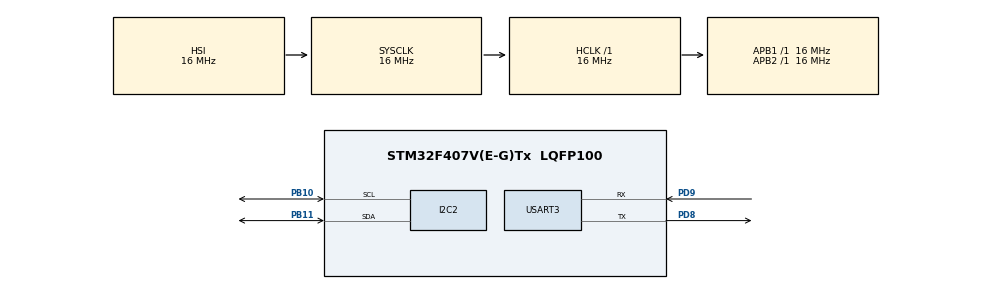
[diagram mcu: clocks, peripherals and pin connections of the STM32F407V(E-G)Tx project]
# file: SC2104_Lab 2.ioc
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Mcu.Family=STM32F4
Mcu.Name=STM32F407V(E-G)Tx
Mcu.Package=LQFP100
NVIC.PriorityGroup=NVIC_PRIORITYGROUP_4
PA13.Signal=SYS_JTMS-SWDIO
PA14.Signal=SYS_JTCK-SWCLK
PB10.Mode=I2C
PB10.Signal=I2C2_SCL
PB11.Mode=I2C
PB11.Signal=I2C2_SDA
PD8.Mode=Asynchronous
PD8.Signal=USART3_TX
PD9.Mode=Asynchronous
PD9.Signal=USART3_RX
ProjectManager.HeapSize=0x200
ProjectManager.StackSize=0x400
ProjectManager.TargetToolchain=STM32CubeIDE
RCC.AHBFreq_Value=16000000
RCC.APB1Freq_Value=16000000
RCC.APB2Freq_Value=16000000
RCC.CortexFreq_Value=16000000
RCC.HSE_VALUE=25000000
RCC.HSI_VALUE=16000000
RCC.LSE_VALUE=32768
RCC.SYSCLKFreq_VALUE=16000000
RCC.VCOOutputFreq_Value=192000000
USART3.VirtualMode=VM_ASYNC
board=custom

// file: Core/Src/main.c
/* USER CODE BEGIN Header */
/**
  ******************************************************************************
  * @file           : main.c
  * @brief          : Main program body
  ******************************************************************************
  * @attention
  *
  * Copyright (c) 2024 STMicroelectronics.
  * All rights reserved.
  *
  * This software is licensed under terms that can be found in the LICENSE file
  * in the root directory of this software component.
  * If no LICENSE file comes with this software, it is provided AS-IS.
  *
  ******************************************************************************
  */
/* USER CODE END Header */
#include "main.h"

/* USER CODE BEGIN Includes */
#include "MPU6050.h"
#include "math.h"
#include "stdio.h"
/* USER CODE END Includes */

 I2C_HandleTypeDef hi2c2;

UART_HandleTypeDef huart3;

void SystemClock_Config(void);
static void MX_GPIO_Init(void);
static void MX_I2C2_Init(void);
static void MX_USART3_UART_Init(void);

/* USER CODE BEGIN 0 */

uint8_t IMU_ADDR = 0x68<<1;
IMU_Data imu;
float pitch, roll, yaw;
char sbuf [16][15];
uint32_t millisOld, millisNow;
float dt; //Time elapsed

/* USER CODE END 0 */

int main(void)
{

  /* MCU Configuration--------------------------------------------------------*/

  /* Reset of all peripherals, Initializes the Flash interface and the Systick. */
  HAL_Init();

  /* Configure the system clock */
  SystemClock_Config();

  /* Initialize all configured peripherals */
  MX_GPIO_Init();
  MX_I2C2_Init();
  MX_USART3_UART_Init();
  /* USER CODE BEGIN 2 */
  uint8_t status = IMU_Initialise(&imu, &hi2c2, &huart3);

  // Check if IMU initialization is successful
    if (status != 0) {
        HAL_UART_Transmit(&huart3, (uint8_t *)"IMU Init Failed\r\n", 17, HAL_MAX_DELAY);
        while (1);  // Stop execution if IMU initialization fails
    }

  millisOld = HAL_GetTick(); //Initialize Time

  /* USER CODE END 2 */

  /* Infinite loop */
  /* USER CODE BEGIN WHILE */
  while (1)
  {
	  // Get current time
	  millisNow = HAL_GetTick();
	  dt = (millisNow - millisOld) * 0.001; // time elapsed in seconds
	  millisOld = millisNow;

	  // Read Accelerometer and Gyroscope
	  IMU_AccelRead(&imu);  // Accelerometer read
	  IMU_GyroRead(&imu);   // Gyroscope read

	  // Calculate pitch and roll using accelerometer data
	  pitch = atan2(imu.acc[0], sqrt(imu.acc[1] * imu.acc[1] + imu.acc[2] * imu.acc[2])) * 180 / 3.14159;
	  roll = atan2(imu.acc[1], sqrt(imu.acc[0] * imu.acc[0] + imu.acc[2] * imu.acc[2])) * 180 / 3.14159;

	  // Calculate yaw using gyroscope (integrating angular velocity)
	  yaw -= imu.gyro[2] * dt; // Gyro z-axis gives yaw

	   // Store pitch, roll, and yaw values into the buffer
	   sprintf(sbuf[0], "%5.2f,", pitch); // Pitch
	   sprintf(sbuf[1], "%5.2f,", roll);  // Roll
	   sprintf(sbuf[2], "%5.2f,", yaw);   // Yaw

	   // Send pitch, roll, and yaw through UART using a for loop
	       for (int i = 0; i < 3; i++)
	       {
	         HAL_UART_Transmit(&huart3, (uint8_t *)sbuf[i], 6, HAL_MAX_DELAY); // Cast to uint8_t * and transmit
	       }

	       // Send newline after sending the values
	       HAL_UART_Transmit(&huart3, (uint8_t *)"\r\n", 2, HAL_MAX_DELAY); // Newline after each set of values
    /* USER CODE END WHILE */

  }
}

void SystemClock_Config(void)
{
  RCC_OscInitTypeDef RCC_OscInitStruct = {0};
  RCC_ClkInitTypeDef RCC_ClkInitStruct = {0};

  /** Configure the main internal regulator output voltage
  */
  __HAL_RCC_PWR_CLK_ENABLE();
  __HAL_PWR_VOLTAGESCALING_CONFIG(PWR_REGULATOR_VOLTAGE_SCALE1);

  /** Initializes the RCC Oscillators according to the specified parameters
  * in the RCC_OscInitTypeDef structure.
  */
  RCC_OscInitStruct.OscillatorType = RCC_OSCILLATORTYPE_HSI;
  RCC_OscInitStruct.HSIState = RCC_HSI_ON;
  RCC_OscInitStruct.HSICalibrationValue = RCC_HSICALIBRATION_DEFAULT;
  RCC_OscInitStruct.PLL.PLLState = RCC_PLL_NONE;
  if (HAL_RCC_OscConfig(&RCC_OscInitStruct) != HAL_OK)
  {
    Error_Handler();
  }

  /** Initializes the CPU, AHB and APB buses clocks
  */
  RCC_ClkInitStruct.ClockType = RCC_CLOCKTYPE_HCLK|RCC_CLOCKTYPE_SYSCLK
                              |RCC_CLOCKTYPE_PCLK1|RCC_CLOCKTYPE_PCLK2;
  RCC_ClkInitStruct.SYSCLKSource = RCC_SYSCLKSOURCE_HSI;
  RCC_ClkInitStruct.AHBCLKDivider = RCC_SYSCLK_DIV1;
  RCC_ClkInitStruct.APB1CLKDivider = RCC_HCLK_DIV1;
  RCC_ClkInitStruct.APB2CLKDivider = RCC_HCLK_DIV1;

  if (HAL_RCC_ClockConfig(&RCC_ClkInitStruct, FLASH_LATENCY_0) != HAL_OK)
  {
    Error_Handler();
  }
}

static void MX_I2C2_Init(void)
{

  hi2c2.Instance = I2C2;
  hi2c2.Init.ClockSpeed = 100000;
  hi2c2.Init.DutyCycle = I2C_DUTYCYCLE_2;
  hi2c2.Init.OwnAddress1 = 0;
  hi2c2.Init.AddressingMode = I2C_ADDRESSINGMODE_7BIT;
  hi2c2.Init.DualAddressMode = I2C_DUALADDRESS_DISABLE;
  hi2c2.Init.OwnAddress2 = 0;
  hi2c2.Init.GeneralCallMode = I2C_GENERALCALL_DISABLE;
  hi2c2.Init.NoStretchMode = I2C_NOSTRETCH_DISABLE;
  if (HAL_I2C_Init(&hi2c2) != HAL_OK)
  {
    Error_Handler();
  }

}

static void MX_USART3_UART_Init(void)
{

  huart3.Instance = USART3;
  huart3.Init.BaudRate = 115200;
  huart3.Init.WordLength = UART_WORDLENGTH_8B;
  huart3.Init.StopBits = UART_STOPBITS_1;
  huart3.Init.Parity = UART_PARITY_NONE;
  huart3.Init.Mode = UART_MODE_TX_RX;
  huart3.Init.HwFlowCtl = UART_HWCONTROL_NONE;
  huart3.Init.OverSampling = UART_OVERSAMPLING_16;
  if (HAL_UART_Init(&huart3) != HAL_OK)
  {
    Error_Handler();
  }

}

static void MX_GPIO_Init(void)
{

  /* GPIO Ports Clock Enable */
  __HAL_RCC_GPIOB_CLK_ENABLE();
  __HAL_RCC_GPIOD_CLK_ENABLE();
  __HAL_RCC_GPIOA_CLK_ENABLE();

}

void Error_Handler(void)
{
  __disable_irq();
  while (1)
  {
  }
}
